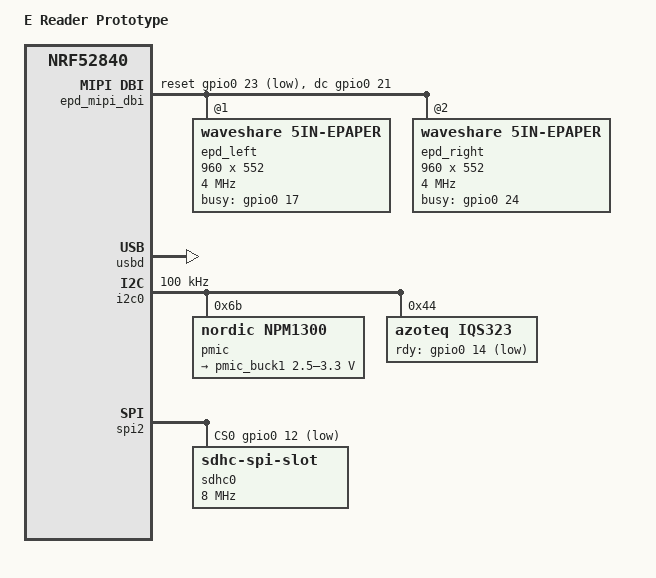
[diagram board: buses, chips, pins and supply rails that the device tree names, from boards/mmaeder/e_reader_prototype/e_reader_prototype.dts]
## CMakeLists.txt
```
cmake_minimum_required(VERSION 3.20.0)

list(APPEND ZEPHYR_EXTRA_MODULES ${CMAKE_CURRENT_SOURCE_DIR})

find_package(Zephyr REQUIRED HINTS $ENV{ZEPHYR_BASE})

project(bringup-test)

target_sources(app PRIVATE src/main.c)
```

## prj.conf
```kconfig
CONFIG_INPUT_LOG_LEVEL_DBG=y
CONFIG_LOG=y

CONFIG_MAIN_STACK_SIZE=4096
CONFIG_HEAP_MEM_POOL_SIZE=8192

CONFIG_DISPLAY=y
CONFIG_MIPI_DBI=y
CONFIG_EPD_SE8350=y
```

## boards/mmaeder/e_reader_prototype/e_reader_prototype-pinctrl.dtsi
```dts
&pinctrl {
  i2c0_default: i2c0_default {
    group1 {
      psels = <NRF_PSEL(TWIM_SDA, 1, 14)>,
              <NRF_PSEL(TWIM_SCL, 1, 15)>;
    };
  };

  i2c0_sleep: i2c0_sleep {
    group1 {
      psels = <NRF_PSEL(TWIM_SDA, 1, 14)>,
              <NRF_PSEL(TWIM_SCL, 1, 15)>;
      low-power-enable;
    };
  };

  spi2_default: spi2_default {
    group1 {
      psels = <NRF_PSEL(SPIM_SCK, 0, 20)>,
              <NRF_PSEL(SPIM_MOSI, 0, 19)>,
              <NRF_PSEL(SPIM_MISO, 0, 15)>;
    };
  };

  spi2_sleep: spi2_sleep {
    group1 {
      psels = <NRF_PSEL(SPIM_SCK, 0, 20)>,
              <NRF_PSEL(SPIM_MOSI, 0, 19)>,
              <NRF_PSEL(SPIM_MISO, 0, 15)>;
      low-power-enable;
    };
  };
};
```

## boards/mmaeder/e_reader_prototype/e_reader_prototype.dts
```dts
/dts-v1/;

#include <nordic/nrf52840_qiaa.dtsi>
#include <dt-bindings/input/input-event-codes.h>
#include <dt-bindings/regulator/npm13xx.h>
#include "e_reader_prototype-pinctrl.dtsi"

/ {
	model = "E Reader Prototype";
	compatible = "mmaeder,e-reader-prototype";

	chosen {
		zephyr,sram = &sram0;
		zephyr,flash = &flash0;
		zephyr,code-partition = &app_partition;

		zephyr,console = &cdc_acm_uart0;
	};
};

&flash0 {
	partitions {
		compatible = "fixed-partitions";
		#address-cells = <1>;
		#size-cells = <1>;

		app_partition: partition@0 {
			label = "image-0";
			reg = <0x00000 DT_SIZE_K(992)>;
		};

		storage_partition: partition@f8000 {
			label = "storage";
			reg = <0xf8000 DT_SIZE_K(32)>;
		};
	};
};

&gpiote {
	status = "okay";
};

&gpio0 {
	status = "okay";
};

zephyr_udc0: &usbd {
	status = "okay";

	cdc_acm_uart0: cdc_acm_uart0 {
		compatible = "zephyr,cdc-acm-uart";
		label = "CDC_ACM_0";
	};
};

&i2c0 {
	compatible = "nordic,nrf-twim";
	status = "okay";
	clock-frequency = <I2C_BITRATE_STANDARD>;

	pinctrl-0 = <&i2c0_default>;
	pinctrl-1 = <&i2c0_sleep>;
	pinctrl-names = "default", "sleep";

	pmic: pmic@6b {
		compatible = "nordic,npm1300";
		reg = <0x6b>;

		pmic_leds: led-controller {
			compatible = "nordic,npm1300-led";
			nordic,led0-mode = "host";
			nordic,led1-mode = "host";
			nordic,led2-mode = "host";
		};

		pmic_gpio: gpio-controller {
			compatible = "nordic,npm1300-gpio";
			gpio-controller;
			#gpio-cells = <2>;
			ngpios = <5>;
		};

		pmic_regulators: regulators {
			compatible = "nordic,npm1300-regulator";
			status = "okay";

			pmic_buck1: BUCK1 {
				regulator-min-microvolt = <2500000>;
				regulator-max-microvolt = <3300000>;
				regulator-init-microvolt = <3300000>;
			};

			pmic_ldsw1: LDO1 {
				status = "okay";
				regulator-initial-mode = <NPM13XX_LDSW_MODE_LDSW>;
			};
		};
	};

	iqs323: iqs323@44 {
		compatible = "azoteq,iqs323";
		reg = <0x44>;
		rdy-gpios = <&gpio0 14 GPIO_ACTIVE_LOW>;
		input-codes = <INPUT_KEY_0 INPUT_KEY_1 INPUT_KEY_2>;
	};
};

&spi2 {
	compatible = "nordic,nrf-spim";
	status = "okay";

	pinctrl-0 = <&spi2_default>;
	pinctrl-1 = <&spi2_sleep>;
	pinctrl-names = "default", "sleep";

	cs-gpios = <&gpio0 12 GPIO_ACTIVE_LOW>,
		   <&gpio0 16 GPIO_ACTIVE_LOW>,
		   <&gpio0 22 GPIO_ACTIVE_LOW>;

	sdhc0: sdhc@0 {
		compatible = "zephyr,sdhc-spi-slot";
		reg = <0>;
		status = "okay";
		spi-max-frequency = <8000000>;

		mmc {
			compatible = "zephyr,sdmmc-disk";
			disk-name = "SD";
			status = "okay";
		};
	};
};

/ {
	epd_mipi_dbi: mipi_dbi {
		compatible = "zephyr,mipi-dbi-spi";
		spi-dev = <&spi2>;
		dc-gpios = <&gpio0 21 GPIO_ACTIVE_HIGH>;
		reset-gpios = <&gpio0 23 GPIO_ACTIVE_LOW>;
		write-only;
		#address-cells = <1>;
		#size-cells = <0>;

		epd_left: epd_left@1 {
			compatible = "waveshare,5in-epaper";
			reg = <1>;
			mipi-max-frequency = <4000000>;
			width = <960>;
			height = <552>;
			busy-gpios = <&gpio0 17 GPIO_ACTIVE_HIGH>;

			softstart = [ae c7 c3 c0 80];
		};

		epd_right: epd_right@2 {
			compatible = "waveshare,5in-epaper";
			reg = <2>;
			mipi-max-frequency = <4000000>;
			width = <960>;
			height = <552>;
			busy-gpios = <&gpio0 24 GPIO_ACTIVE_HIGH>;

			softstart = [ae c7 c3 c0 80];
		};
	};
};
```

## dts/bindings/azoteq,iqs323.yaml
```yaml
# Copyright (c) 2025 Max Maeder
# SPDX-License-Identifier: Apache-2.0

description: |
  Azoteq IQS323 3-channel capacitive touch sensor.

  Configured for 3-button self-capacitance mode using the Zephyr input
  subsystem.  The device communicates over I2C with an active-low RDY pin
  that gates every bus transaction (the host may only read/write while
  RDY is asserted).

  Example devicetree node:

    &i2c0 {
        iqs323@44 {
            compatible = "azoteq,iqs323";
            reg = <0x44>;
            rdy-gpios = <&gpio0 14 GPIO_ACTIVE_LOW>;
            input-codes = <INPUT_KEY_0 INPUT_KEY_1 INPUT_KEY_2>;
        };
    };

compatible: "azoteq,iqs323"

include: i2c-device.yaml

properties:
  rdy-gpios:
    type: phandle-array
    required: true
    description: |
      GPIO connected to the RDY/MCLR pin of the IQS323.
      The pin is active-low with an internal 200 kΩ pull-up.  It doubles
      as the master-clear (hardware reset) input.

  input-codes:
    type: array
    required: true
    description: |
      Array of exactly 3 input event key codes (INPUT_KEY_* or INPUT_BTN_*)
      corresponding to channels 0, 1, and 2.
```

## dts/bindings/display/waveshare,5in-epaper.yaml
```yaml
# Copyright (c) 2025 Max Maeder
# SPDX-License-Identifier: Apache-2.0

description: |
  Waveshare 5-inch e-Paper display (960x552, SE8350 controller).
  Uses SSD1683-compatible command set.

compatible: "waveshare,5in-epaper"

include: [mipi-dbi-spi-device.yaml, display-controller.yaml]

properties:
  busy-gpios:
    type: phandle-array
    required: true
    description: |
      BUSY pin. Active high (high = busy, low = idle).

  softstart:
    type: uint8-array
    description: Booster Soft Start (cmd 0x0C) values (5 bytes).
```

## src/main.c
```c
/*
 * E-Reader bringup: load BMP pages from SD card and display on dual EPD.
 *
 * Pages are stored as page_0000.bmp through page_NNNN.bmp (960x552, 1-bit B/W).
 * Displays are mounted vertically (90° CW) so the 960-pixel hardware width
 * runs top-to-bottom physically. The BMP images are pre-rotated for this
 * orientation, so pixel data is written directly to the display.
 *
 * A "spread" is two consecutive pages: even page on left display, odd on right.
 * Currently only the left display is enabled.
 *
 * Button 2: next spread
 * Button 0: previous spread
 */

#include <zephyr/kernel.h>
#include <zephyr/device.h>
#include <zephyr/drivers/display.h>
#include <zephyr/drivers/led.h>
#include <zephyr/drivers/regulator.h>
#include <zephyr/input/input.h>
#include <zephyr/storage/disk_access.h>
#include <zephyr/fs/fs.h>
#include <ff.h>
#include <string.h>

#define EPD_WIDTH     960
#define EPD_HEIGHT    552
#define EPD_ROW_BYTES (EPD_WIDTH / 8)
#define EPD_BUF_SIZE  (EPD_ROW_BYTES * EPD_HEIGHT)

#define PAGES_PER_SPREAD 2

static const struct device *leds;
static const struct device *epd_l;
static const struct device *epd_r;
static const struct device *sd_ldsw;
static bool sd_on;

static int current_spread;
static int total_pages;

enum button_action {
	BTN_NONE,
	BTN_NEXT,
	BTN_PREV,
};

static enum button_action pending_action;
static K_SEM_DEFINE(button_sem, 0, 1);

static uint8_t framebuf[EPD_BUF_SIZE];

static void touch_event_cb(struct input_event *evt, void *user_data)
{
	ARG_UNUSED(user_data);

	if (evt->type != INPUT_EV_KEY || !evt->value) {
		return;
	}

	if (evt->code == INPUT_KEY_2) {
		pending_action = BTN_NEXT;
		k_sem_give(&button_sem);
	} else if (evt->code == INPUT_KEY_0) {
		pending_action = BTN_PREV;
		k_sem_give(&button_sem);
	}
}

INPUT_CALLBACK_DEFINE(NULL, touch_event_cb, NULL);

static FATFS fat_fs;
static struct fs_mount_t mp = {
	.type = FS_FATFS,
	.fs_data = &fat_fs,
	.mnt_point = "/SD:",
};

static bool sd_power_on(void)
{
	int ret;

	if (sd_on) {
		return true;
	}

	if (!sd_ldsw) {
		return false;
	}

	ret = regulator_enable(sd_ldsw);
	if (ret && ret != -EALREADY) {
		printk("Failed to enable SD power (%d)\n", ret);
		return false;
	}
	k_sleep(K_MSEC(100));

	ret = disk_access_init("SD");
	if (ret) {
		printk("SD init failed (%d)\n", ret);
		return false;
	}

	ret = fs_mount(&mp);
	if (ret) {
		printk("FS mount failed (%d)\n", ret);
		return false;
	}

	sd_on = true;
	return true;
}

static void sd_power_off(void)
{
	if (!sd_on || !sd_ldsw) {
		return;
	}

	fs_unmount(&mp);
	regulator_disable(sd_ldsw);
	sd_on = false;
}

static bool page_exists(int page_num)
{
	char path[32];
	struct fs_dirent entry;

	snprintf(path, sizeof(path), "/SD:/page_%04d.bmp", page_num);
	return fs_stat(path, &entry) == 0;
}

static int load_bmp_page(int page_num)
{
	char path[32];
	struct fs_file_t f;
	uint8_t header[62];
	uint32_t data_offset;
	int32_t bmp_width, bmp_height;
	bool top_down = false;
	int row_bytes;
	int ret;

	snprintf(path, sizeof(path), "/SD:/page_%04d.bmp", page_num);

	fs_file_t_init(&f);
	ret = fs_open(&f, path, FS_O_READ);
	if (ret) {
		printk("Cannot open %s (%d)\n", path, ret);
		return ret;
	}

	ret = fs_read(&f, header, sizeof(header));
	if (ret < 26) {
		fs_close(&f);
		return -EIO;
	}

	data_offset = header[10] | (header[11] << 8) |
		      (header[12] << 16) | (header[13] << 24);
	bmp_width = (int32_t)(header[18] | (header[19] << 8) |
			      (header[20] << 16) | (header[21] << 24));
	bmp_height = (int32_t)(header[22] | (header[23] << 8) |
			       (header[24] << 16) | (header[25] << 24));

	if (bmp_height < 0) {
		bmp_height = -bmp_height;
		top_down = true;
	}

	if (bmp_width != EPD_WIDTH || bmp_height != EPD_HEIGHT) {
		printk("BMP size mismatch: %dx%d\n", bmp_width, bmp_height);
		fs_close(&f);
		return -EINVAL;
	}

	row_bytes = ((bmp_width + 31) / 32) * 4;

	fs_seek(&f, data_offset, FS_SEEK_SET);

	if (top_down) {
		for (int y = 0; y < EPD_HEIGHT; y++) {
			ret = fs_read(&f, &framebuf[y * EPD_ROW_BYTES],
				      row_bytes);
			if (ret < row_bytes) {
				break;
			}
		}
	} else {
		for (int y = EPD_HEIGHT - 1; y >= 0; y--) {
			ret = fs_read(&f, &framebuf[y * EPD_ROW_BYTES],
				      row_bytes);
			if (ret < row_bytes) {
				break;
			}
		}
	}

	fs_close(&f);
	return 0;
}

static int write_page_to_epd(const struct device *epd, int page_num)
{
	struct display_buffer_descriptor desc = {
		.buf_size = EPD_BUF_SIZE,
		.width = EPD_WIDTH,
		.height = EPD_HEIGHT,
		.pitch = EPD_WIDTH,
	};

	if (load_bmp_page(page_num)) {
		printk("Failed to load page %d\n", page_num);
		return -EIO;
	}

	display_blanking_on(epd);
	if (display_write(epd, 0, 0, &desc, framebuf)) {
		printk("Display write failed for page %d\n", page_num);
		return -EIO;
	}
	return 0;
}

static void show_spread(void)
{
	int left_page = current_spread * PAGES_PER_SPREAD;
	int right_page = left_page + 1;

	if (!sd_power_on()) {
		printk("SD card unavailable\n");
		return;
	}

	printk("Showing spread %d (pages %d-%d)\n",
	       current_spread, left_page, right_page);

	/* Write data to both displays while SD is on */
	write_page_to_epd(epd_l, left_page);
	if (right_page < total_pages) {
		write_page_to_epd(epd_r, right_page);
	}

	sd_power_off();

	/* Trigger both refreshes — they run in parallel */
	display_blanking_off(epd_l);
	if (right_page < total_pages) {
		display_blanking_off(epd_r);
	}
}

static int count_pages(void)
{
	int count = 0;

	while (page_exists(count)) {
		count++;
	}
	return count;
}

int main(void)
{
	int total_spreads;

	k_sleep(K_MSEC(1000));
	printk("\n\n=== E-Reader boot ===\n");

	leds = DEVICE_DT_GET(DT_NODELABEL(pmic_leds));
	epd_l = DEVICE_DT_GET(DT_NODELABEL(epd_left));
	epd_r = DEVICE_DT_GET(DT_NODELABEL(epd_right));

	if (!device_is_ready(leds)) {
		leds = NULL;
	}

	if (!device_is_ready(epd_l)) {
		printk("EPD left display not ready\n");
		return -1;
	}

	if (!device_is_ready(epd_r)) {
		printk("EPD right display not ready\n");
		return -1;
	}

	sd_ldsw = DEVICE_DT_GET(DT_NODELABEL(pmic_ldsw1));
	if (!device_is_ready(sd_ldsw)) {
		printk("PMIC load switch not ready\n");
		return -1;
	}

	if (!sd_power_on()) {
		printk("SD card init failed\n");
		return -1;
	}

	total_pages = count_pages();
	printk("Found %d pages\n", total_pages);

	sd_power_off();

	if (total_pages == 0) {
		printk("No pages on SD card\n");
		return -1;
	}

	total_spreads = (total_pages + PAGES_PER_SPREAD - 1) / PAGES_PER_SPREAD;
	current_spread = 0;

	show_spread();

	while (1) {
		k_sem_take(&button_sem, K_FOREVER);

		if (leds) {
			led_on(leds, 0);
		}

		switch (pending_action) {
		case BTN_NEXT:
			if (current_spread + 1 < total_spreads) {
				current_spread++;
				show_spread();
			}
			break;
		case BTN_PREV:
			if (current_spread > 0) {
				current_spread--;
				show_spread();
			}
			break;
		default:
			break;
		}

		pending_action = BTN_NONE;

		if (leds) {
			led_off(leds, 0);
		}
	}
}
```
